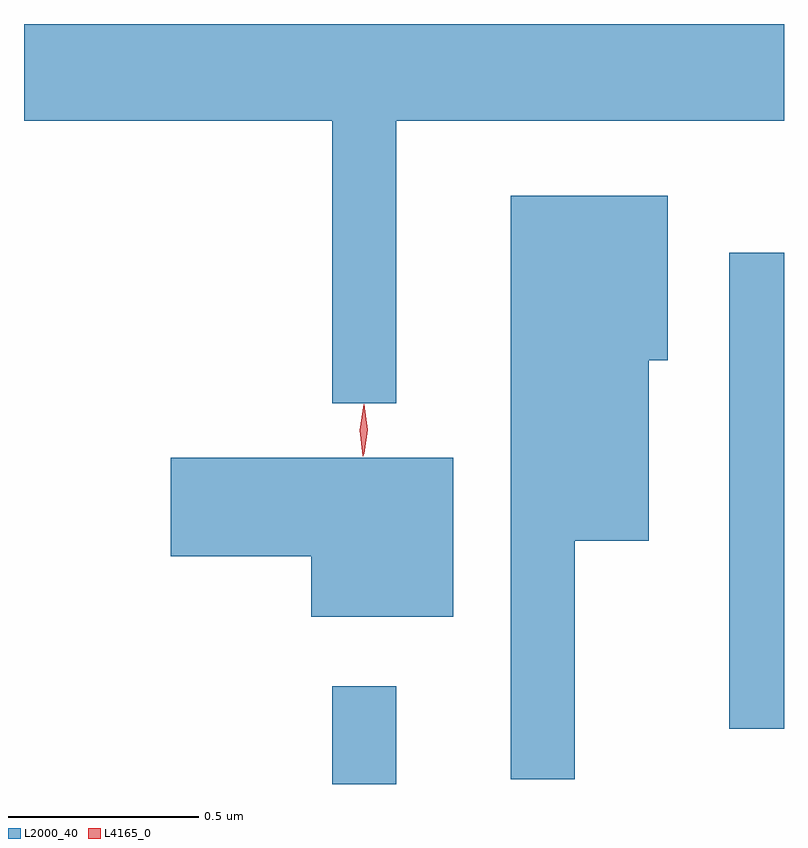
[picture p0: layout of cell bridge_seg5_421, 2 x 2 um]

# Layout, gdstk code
import gdstk
lib = gdstk.Library(unit=1e-6, precision=1e-09)
def R(c, l, rs):  # rectangles x0, y0, x1, y1
    for r in rs: c.add(gdstk.rectangle(r[:2], r[2:], *l))
def P(c, l, *ps):  # polygons
    for p in ps: c.add(gdstk.Polygon(p, *l))
L2000_40 = (2000, 40)
L4165_0 = (4165, 0)

bridge_seg5_421 = lib.new_cell('bridge_seg5_421')
R(bridge_seg5_421, L2000_40, [(437.721,1477.251,437.889,1477.508), (438.766,1477.396,438.91,1478.649)])
P(bridge_seg5_421, L2000_40, [(437.889,1478.996),(438.91,1478.996),(438.91,1479.251),(436.91,1479.251),(436.91,1478.996),(437.721,1478.996),(437.721,1478.253),(437.889,1478.253)],
  [(438.359,1477.891),(438.554,1477.891),(438.554,1478.366),(438.604,1478.366),(438.604,1478.799),(438.191,1478.799),(438.191,1477.263),(438.359,1477.263)],
  [(438.039,1478.109),(437.296,1478.109),(437.296,1477.851),(437.666,1477.851),(437.666,1477.691),(438.039,1477.691)])
P(bridge_seg5_421, L4165_0, [(437.802,1478.114),(437.794,1478.182),(437.804,1478.25),(437.805,1478.25),(437.805,1478.25),(437.814,1478.182),(437.803,1478.114),(437.803,1478.114)],
  [(437.804,1478.12),(437.795,1478.183),(437.804,1478.246),(437.805,1478.247),(437.805,1478.246),(437.815,1478.183),(437.805,1478.12),(437.805,1478.12)])

lib.write_gds('bridge_seg5_421.gds')
